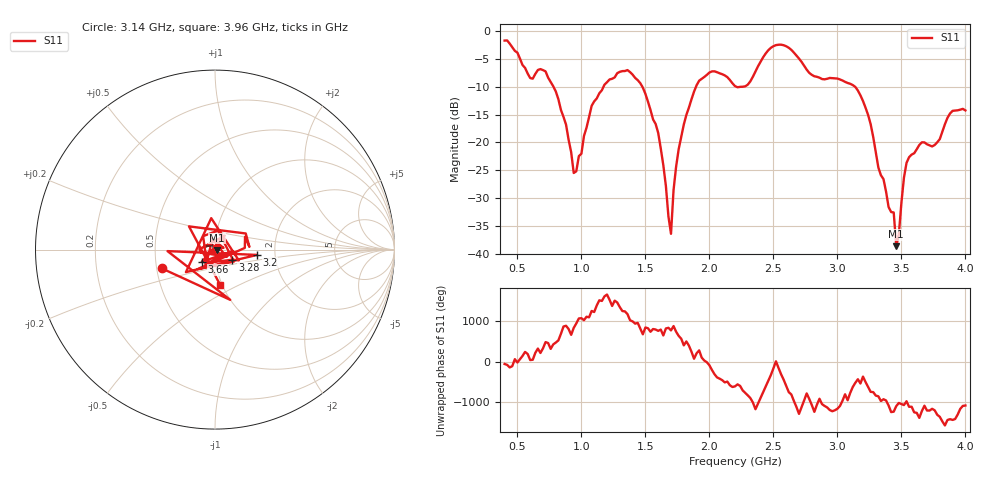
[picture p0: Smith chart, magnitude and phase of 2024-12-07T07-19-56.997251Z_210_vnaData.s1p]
!Created with skrf (http://scikit-rf.org).
# Hz S RI R 50.0
!freq ReS11 ImS11
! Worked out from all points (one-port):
!   181 points, 400 MHz to 4 GHz, reference 50 ohm
!   lowest |S11| = -38.7 dB at 3.46 GHz (marker M1), VSWR 1.02, Z = 51.1 - j0.285 ohm
!   |S11| at or under -10 dB: 782 MHz to 1.172 GHz (390.3 MHz wide, 39.9 % of centre); 1.476 GHz to 1.895 GHz (418.7 MHz wide, 24.8 % of centre); 3.139 GHz to end of sweep (the widest 3 of 4)
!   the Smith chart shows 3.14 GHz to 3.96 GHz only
!   S11 on the Smith chart (normalised r, x): 3.14 GHz: 0.53, -0.12; 3.2 GHz: 1.61, -0.10; 3.28 GHz: 1.21, -0.14; 3.66 GHz: 0.86, -0.12; 3.96 GHz: 0.98, -0.40
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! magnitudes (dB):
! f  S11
! 400 MHz  -1.7
! 600 MHz  -8.4
! 720 MHz  -7.2
! 860 MHz  -15.4
! 960 MHz  -25.2
! 1.08 GHz  -13.4
! 1.3 GHz  -7.3
! 1.46 GHz  -9.3
! 1.58 GHz  -16.7
! 1.64 GHz  -24.1
! 1.7 GHz  -36.4
! 1.72 GHz  -28.6
! 1.76 GHz  -21.2
! 1.92 GHz  -8.9
! 2.2 GHz  -9.9
! 2.5 GHz  -2.7
! 2.66 GHz  -3.8
! 3.1 GHz  -9.5
! 3.14 GHz  -10.0
! 3.2 GHz  -12.6
! 3.28 GHz  -19.0
! 3.44 GHz  -32.6
! 3.46 GHz  -38.7
! 3.52 GHz  -26.3
! 3.56 GHz  -22.7
! 3.66 GHz  -20.0
! 3.96 GHz  -14.1
! 4 GHz  -14.2
